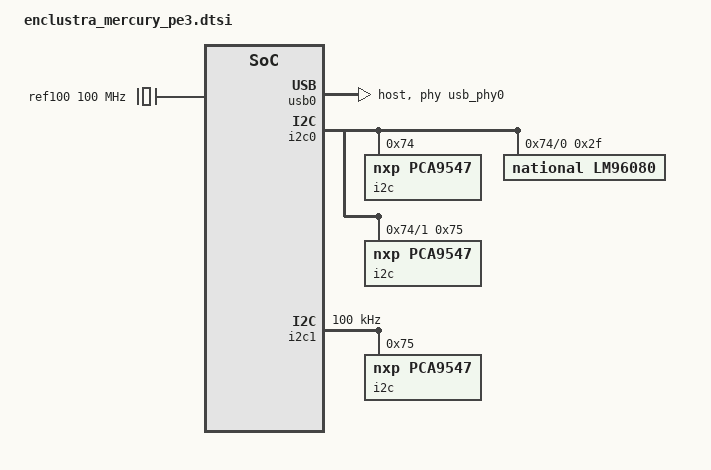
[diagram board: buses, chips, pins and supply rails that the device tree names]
/ {
	usb_phy0: phy0 {
		compatible = "ulpi-phy";
		#phy-cells = <0>;
		reg = <0xe0002000 0x1000>;
		view-port = <0x0170>;
		drv-vbus;
	};
};

&usb0 {
	dr_mode = "host";
	usb-phy = <&usb_phy0>;
};

&sdhci0 {
	disable-wp;
};

&amba {
	ref100: ref100M {
		compatible = "fixed-clock";
		#clock-cells = <0>;
		clock-frequency = <100000000>;
	};
};

&i2c0 {
	i2c@74 {
		compatible = "nxp,pca9547";
		reg = <0x74>;

		i2c@0 {
			reg = <0>;
			lm96080@2f {
				compatible = "national,lm96080", "lm80";
				reg = <0x2f >;
			};
		};
		i2c@1 {
			reg = <1>;
			i2c@75 {
				compatible = "nxp,pca9547";
				reg = <0x75>;
			};
		};
	};
};

&i2c1 {
	clock-frequency = <100000>;
	i2c@75 {
		compatible = "nxp,pca9547";
		reg = <0x75>;
	};
};
